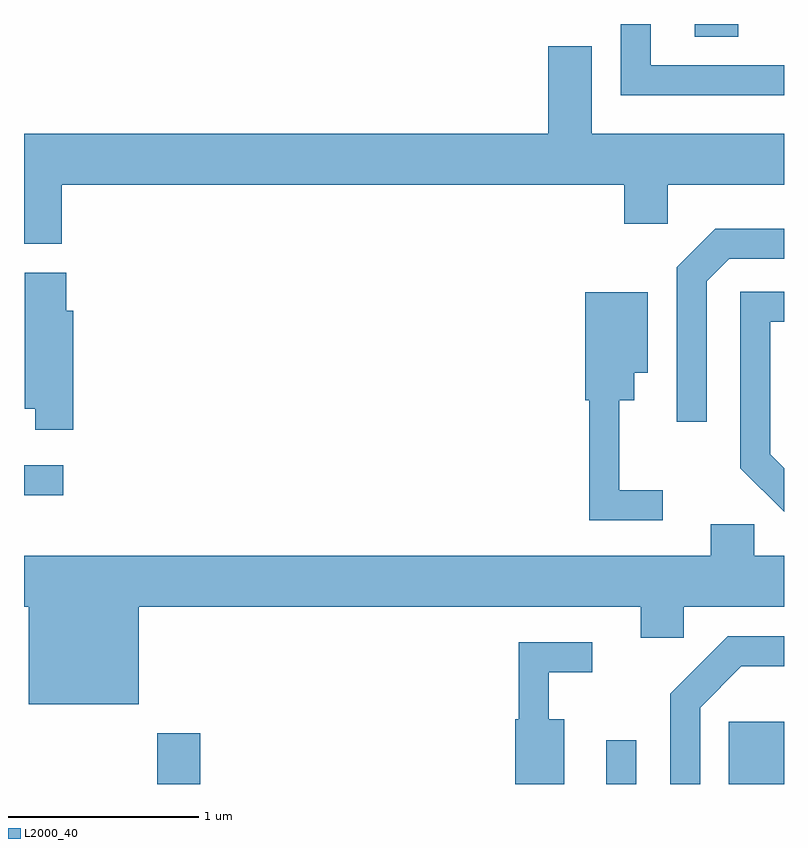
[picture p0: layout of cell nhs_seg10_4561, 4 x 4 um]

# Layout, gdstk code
import gdstk
lib = gdstk.Library(unit=1e-6, precision=1e-09)
def R(c, l, rs):  # rectangles x0, y0, x1, y1
    for r in rs: c.add(gdstk.rectangle(r[:2], r[2:], *l))
def P(c, l, *ps):  # polygons
    for p in ps: c.add(gdstk.Polygon(p, *l))
L2000_40 = (2000, 40)

nhs_seg10_4561 = lib.new_cell('nhs_seg10_4561')
R(nhs_seg10_4561, L2000_40, [(320.311,2128.522,320.539,2128.789), (322.676,2128.522,322.834,2128.753), (323.321,2128.522,323.611,2128.849), (319.611,2130.041,319.818,2130.199), (323.141,2132.456,323.369,2132.522)])
P(nhs_seg10_4561, L2000_40, [(323.611,2132.304),(322.909,2132.304),(322.909,2132.522),(322.751,2132.522),(322.751,2132.146),(323.611,2132.146)],
  [(322.771,2131.471),(322.999,2131.471),(322.999,2131.676),(323.611,2131.676),(323.611,2131.944),(322.599,2131.944),(322.599,2132.404),(322.371,2132.404),(322.371,2131.944),(319.611,2131.944),(319.611,2131.366),(319.809,2131.366),(319.809,2131.676),(322.771,2131.676)],
  [(323.204,2131.169),(323.322,2131.286),(323.611,2131.286),(323.611,2131.444),(323.249,2131.444),(323.046,2131.242),(323.046,2130.428),(323.204,2130.428)],
  [(319.869,2131.014),(319.834,2131.014),(319.834,2131.214),(319.616,2131.214),(319.616,2130.496),(319.671,2130.496),(319.671,2130.386),(319.869,2130.386)],
  [(323.611,2130.185),(323.539,2130.257),(323.539,2130.956),(323.611,2130.956),(323.611,2131.114),(323.381,2131.114),(323.381,2130.184),(323.611,2129.954)],
  [(322.973,2130.069),(322.744,2130.069),(322.744,2130.541),(322.824,2130.541),(322.824,2130.686),(322.894,2130.686),(322.894,2131.109),(322.566,2131.109),(322.566,2130.541),(322.586,2130.541),(322.586,2129.911),(322.973,2129.911)],
  [(320.214,2129.456),(322.856,2129.456),(322.856,2129.291),(323.084,2129.291),(323.084,2129.456),(323.611,2129.456),(323.611,2129.724),(323.454,2129.724),(323.454,2129.889),(323.226,2129.889),(323.226,2129.724),(319.611,2129.724),(319.611,2129.456),(319.636,2129.456),(319.636,2128.941),(320.214,2128.941)],
  [(323.169,2128.924),(323.387,2129.141),(323.611,2129.141),(323.611,2129.299),(323.314,2129.299),(323.011,2128.997),(323.011,2128.522),(323.169,2128.522)],
  [(322.454,2128.864),(322.374,2128.864),(322.374,2129.111),(322.603,2129.111),(322.603,2129.269),(322.216,2129.269),(322.216,2128.864),(322.196,2128.864),(322.196,2128.522),(322.454,2128.522)])

lib.write_gds('nhs_seg10_4561.gds')
